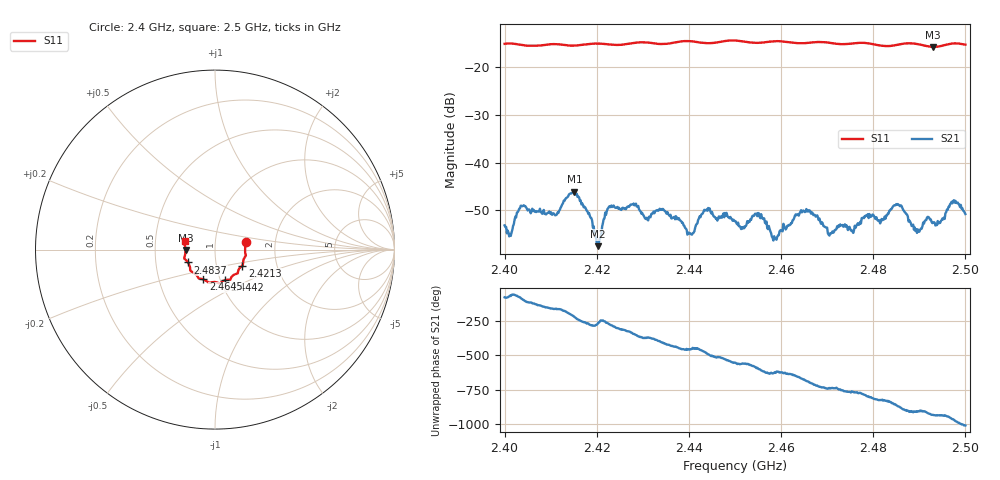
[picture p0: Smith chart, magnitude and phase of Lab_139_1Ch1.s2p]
# Hz S RI R 50
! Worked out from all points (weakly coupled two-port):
!   601 points, 2.4 GHz to 2.5 GHz, reference 50 ohm
!   highest |S21| = -46.06 dB at 2.4152 GHz (marker M1); lowest = -57.5 dB at 2.4203 GHz (marker M2)
!   lowest |S11| = -15.7 dB at 2.493 GHz (marker M3), VSWR 1.39, Z = 35.9 - j0.231 ohm
!   |S11| at or under -10 dB: start of sweep to end of sweep
!   S12 and S22 are empty: the file has one direction only
!   S11 on the Smith chart (normalised r, x): 2.4 GHz: 1.41, +0.12; 2.4213 GHz: 1.33, -0.25; 2.4442 GHz: 1.05, -0.37; 2.4645 GHz: 0.83, -0.29; 2.4837 GHz: 0.73, -0.11; 2.5 GHz: 0.71, +0.07
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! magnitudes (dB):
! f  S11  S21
! 2.4 GHz  -15.1  -53.2
! 2.4038 GHz  -15.3  -49.1
! 2.4152 GHz  -15.5  -46.1
! 2.4167 GHz  -15.3  -48.8
! 2.4203 GHz  -15.0  -57.5
! 2.4213 GHz  -15.1  -52.7
! 2.4232 GHz  -15.2  -49.0
! 2.4333 GHz  -15.1  -50.1
! 2.4402 GHz  -14.5  -54.9
! 2.4442 GHz  -15.0  -49.5
! 2.45 GHz  -14.4  -52.3
! 2.4548 GHz  -14.9  -51.2
! 2.4587 GHz  -14.5  -56.0
! 2.4645 GHz  -15.0  -50.4
! 2.4667 GHz  -14.8  -50.4
! 2.4707 GHz  -14.9  -54.8
! 2.4833 GHz  -15.6  -50.7
! 2.4837 GHz  -15.5  -50.0
! 2.4897 GHz  -15.1  -54.0
! 2.493 GHz  -15.7  -52.6
! 2.4973 GHz  -15.0  -48.1
! 2.5 GHz  -15.3  -50.8
